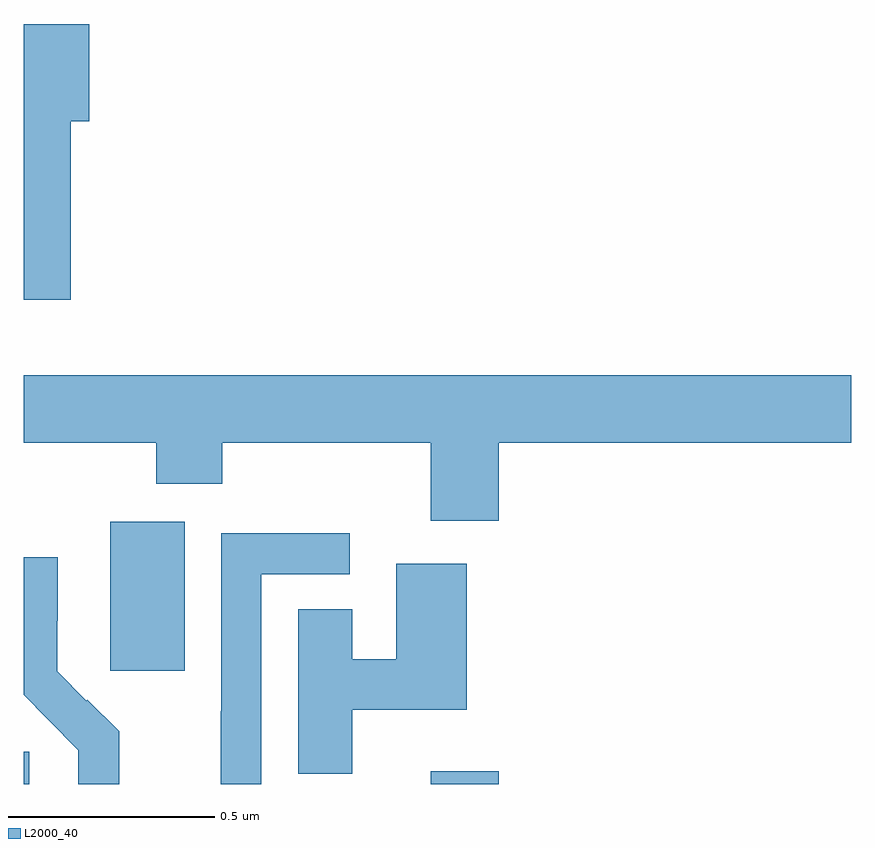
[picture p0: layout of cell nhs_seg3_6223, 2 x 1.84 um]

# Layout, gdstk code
import gdstk
lib = gdstk.Library(unit=1e-6, precision=1e-09)
def R(c, l, rs):  # rectangles x0, y0, x1, y1
    for r in rs: c.add(gdstk.rectangle(r[:2], r[2:], *l))
def P(c, l, *ps):  # polygons
    for p in ps: c.add(gdstk.Polygon(p, *l))
L2000_40 = (2000, 40)

nhs_seg3_6223 = lib.new_cell('nhs_seg3_6223')
R(nhs_seg3_6223, L2000_40, [(188,725.4,188.014,725.478), (188.984,725.4,189.148,725.431), (188.21,725.673,188.389,726.034)])
P(nhs_seg3_6223, L2000_40, [(188.114,727.001),(188.159,727.001),(188.159,727.236),(188,727.236),(188,726.57),(188.114,726.57)],
  [(189.148,726.224),(190,726.224),(190,726.388),(188,726.388),(188,726.224),(188.32,726.224),(188.32,726.125),(188.48,726.125),(188.48,726.224),(188.984,726.224),(188.984,726.036),(189.148,726.036)],
  [(188.574,725.907),(188.788,725.907),(188.788,726.006),(188.478,726.006),(188.478,725.576),(188.476,725.576),(188.476,725.4),(188.574,725.4)],
  [(188.231,725.527),(188.154,725.604),(188.151,725.601),(188.081,725.672),(188.081,725.794),(188.082,725.794),(188.082,725.948),(188,725.948),(188,725.616),(188.059,725.557),(188.058,725.556),(188.132,725.482),(188.132,725.4),(188.231,725.4)],
  [(188.794,725.579),(189.071,725.579),(189.071,725.932),(188.9,725.932),(188.9,725.701),(188.794,725.701),(188.794,725.822),(188.663,725.822),(188.663,725.425),(188.794,725.425)])

lib.write_gds('nhs_seg3_6223.gds')
